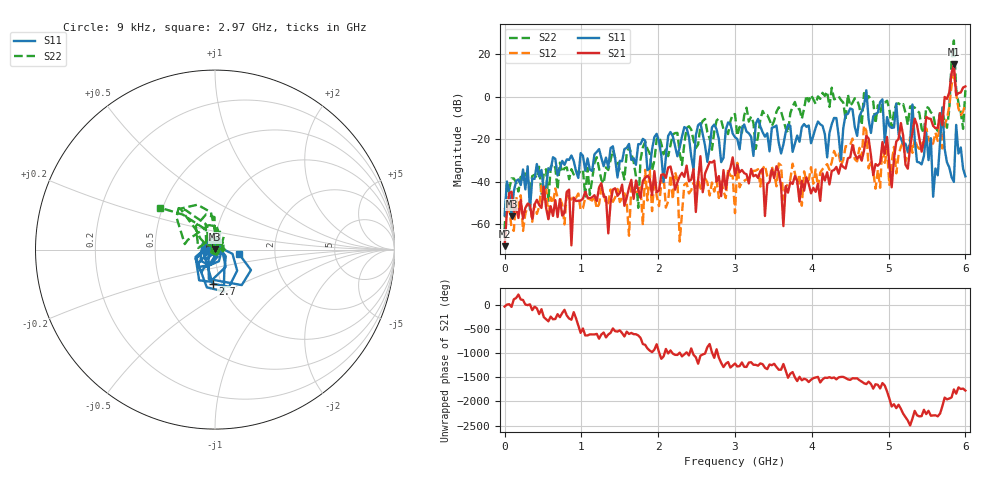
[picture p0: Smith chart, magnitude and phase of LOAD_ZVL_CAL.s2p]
#  HZ  S  DB  R  50.0
! Rohde & Schwarz ZVL13 2Ports - Version 3.20 - 1303.6509k13 SN: 100953
! Date: 2024-10-09 07:59:00
! Data & Calibration Information:
! Trc1:S11(TOSM) Trc4:S21(TOSM) Trc2:S12(TOSM) Trc3:S22(TOSM)
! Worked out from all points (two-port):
!   201 points, 9 kHz to 6 GHz, reference 50 ohm
!   highest |S21| = 15.50 dB at 5.85 GHz (marker M1); lowest = -70.4 dB at 9 kHz (marker M2)
!   |S21| within 3 dB of the highest: 5.82933 GHz to 5.856111 GHz (26.78 MHz wide, 0.458 % of centre)
!   lowest |S11| = -56.4 dB at 90.01 MHz (marker M3), VSWR 1.00, Z = 50.1 + j0.119 ohm
!   |S11| at or under -10 dB: start of sweep to 4.433 GHz; 5.322 GHz to 5.691 GHz (369.2 MHz wide, 6.71 % of centre); 5.708 GHz to end of sweep (the widest 3 of 8)
!   |S22| runs from -62.7 to 26.5 dB; largest |S21 - S12| = 3.1
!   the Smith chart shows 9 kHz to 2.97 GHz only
!   S11 on the Smith chart (normalised r, x): 9 kHz: 1.00, -0.00; 2.7 GHz: 0.91, -0.36; 2.97 GHz: 1.31, -0.06
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9000  -55.89 -45.7  -70.43 -29.1  -52.30 -12.3  -62.73 -87.9
9.000886e7  -56.42 51.7  -44.76 -36.6  -62.03 24.6  -38.48 138.6
1.020007e9  -27.88 115.7  -48.06 -124.4  -52.59 29.3  -34.42 -56.2
1.620007e9  -22.25 -132.2  -42.89 121.4  -65.52 138.9  -23.77 44.6
1.740006e9  -22.35 152.8  -43.81 91.0  -44.64 45.6  -52.39 27.5
2.010006e9  -21.14 -106.3  -44.21 105.9  -51.58 -141.8  -18.62 81.1
2.700005e9  -14.40 -94.0  -31.01 98.2  -40.44 169.7  -25.01 151.5
2.970005e9  -17.38 -9.7  -28.57 -175.4  -37.45 -153.0  -8.28 142.7
3.000004e9  -19.08 2.6  -37.02 -132.4  -54.89 -118.9  -8.18 154.0
4.020003e9  -18.38 58.8  -42.94 -75.1  -41.02 -88.1  -1.17 -49.7
4.620002e9  -9.27 113.3  -27.85 -118.0  -24.09 -169.3  -4.78 10.1
4.680002e9  -4.10 73.7  -25.38 179.4  -13.56 119.7  1.69 -101.6
5.010001e9  -13.79 26.1  -31.87 -137.5  -41.58 -92.2  -6.00 18.1
5.310001e9  -3.68 3.1  -17.12 161.8  -26.43 56.6  -4.47 4.5
5.580001e9  -47.14 -13.0  -13.75 -128.6  -21.95 -107.1  -8.09 66.4
5.7e9  -4.97 4.0  -13.46 61.3  -24.38 -126.4  -7.46 40.1
5.79e9  -33.27 -45.9  1.97 -138.4  -4.71 -119.5  -6.12 -121.3
5.82e9  -37.92 89.1  11.15 -115.8  5.37 -160.1  17.09 -113.4
5.85e9  -40.15 109.3  15.50 49.5  11.67 21.4  26.52 -127.6
5.88e9  -13.27 13.8  0.77 -37.7  1.44 65.8  3.72 -155.9
5.91e9  -26.76 -79.9  1.72 92.1  -5.57 99.9  -2.97 23.5
6e9  -37.52 -117.1  4.86 27.2  -3.19 38.2  3.07 -139.1
